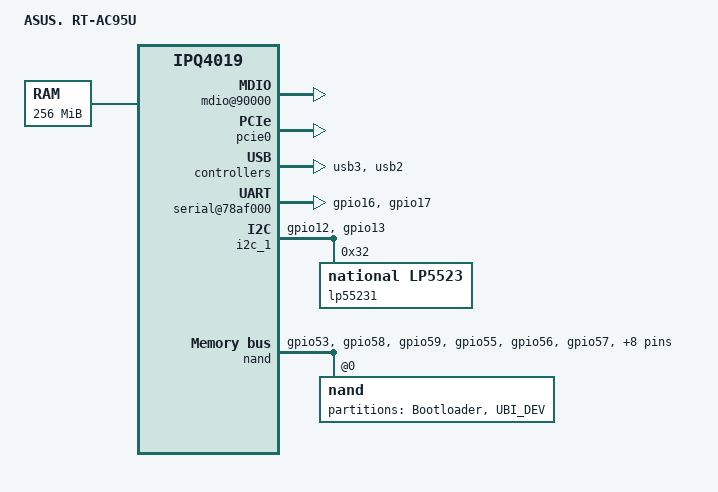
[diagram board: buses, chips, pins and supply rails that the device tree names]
/* Copyright (c) 2015, The Linux Foundation. All rights reserved.
 *
 * Permission to use, copy, modify, and/or distribute this software for any
 * purpose with or without fee is hereby granted, provided that the above
 * copyright notice and this permission notice appear in all copies.
 *
 * THE SOFTWARE IS PROVIDED "AS IS" AND THE AUTHOR DISCLAIMS ALL WARRANTIES
 * WITH REGARD TO THIS SOFTWARE INCLUDING ALL IMPLIED WARRANTIES OF
 * MERCHANTABILITY AND FITNESS. IN NO EVENT SHALL THE AUTHOR BE LIABLE FOR
 * ANY SPECIAL, DIRECT, INDIRECT, OR CONSEQUENTIAL DAMAGES OR ANY DAMAGES
 * WHATSOEVER RESULTING FROM LOSS OF USE, DATA OR PROFITS, WHETHER IN AN
 * ACTION OF CONTRACT, NEGLIGENCE OR OTHER TORTIOUS ACTION, ARISING OUT OF
 * OR IN CONNECTION WITH THE USE OR PERFORMANCE OF THIS SOFTWARE.
 *
 */

#include "qcom-ipq4019.dtsi"
#include "qcom-ipq4019-mhi.dtsi"
#include <dt-bindings/input/input.h>
#include <dt-bindings/gpio/gpio.h>

/ {
	model = "ASUS. RT-AC95U";
	compatible = "qcom,ipq4019";

	chosen {
		bootargs-append = " ubi.mtd=UBI_DEV";
	};

	memory {
		device_type = "memory";
		reg = <0x80000000 0x10000000>; /* 256MB */
	};

	soc {
		rng@22000 {
			status = "ok";
		};

		mdio@90000 {
			status = "ok";
		};

		ess-psgmii@98000 {
			status = "ok";
		};

		wifi_glb_tcsr: tcsr@1949000 {
			status = "ok";
		};

		tcsr: tcsr@194b000 {
			status = "ok";
		};

		ess_tcsr: ess_tcsr@1953000 {
			status = "ok";
		};

		wifi_noc_memtype_m0_m2_tcsr: tcsr@1957000 {
			status = "ok";
		};

		ess-switch@c000000 {
			status = "ok";
		};

		edma@c080000 {
			status = "ok";
		};

		pcie0: pci@40000000 {
			status = "ok";
			perst-gpio = <&tlmm 38 GPIO_ACTIVE_LOW>;
		};

		usb3_ss_phy: ssphy@0 {
			status = "ok";
		};

		usb3_hs_phy: hsphy@a6000 {
			status = "ok";
		};

		usb2_hs_phy: hsphy@a8000 {
			status = "ok";
		};

		usb3: usb3@8a00000 {
			status = "ok";
		};

		usb2: usb2@6000000 {
			status = "ok";
		};

		qpic_bam: dma@7984000{
			status = "ok";
		};

		qcom_mdss_qpic@7980000 {
			status = "ok";
		};

		qcom_mdss_qpic_panel {
			status = "ok";
		};

		serial@78af000 {
			pinctrl-0 = <&serial_pins>;
			pinctrl-names = "default";
			status = "ok";
		};

		gpio_keys {
			status = "disabled";
		};

		pinctrl@0x01000000 {
			spi_0_pins: spi_0_pinmux {
				status = "disabled";
			};

			i2c_0_pins: i2c_0_pinmux {
				status = "disabled";
			};

			i2c_1_pins: i2c_1_pinmux {
				mux {
					pins = "gpio12", "gpio13";
					function = "blsp_i2c1";
					bias-disable;
				};
			};
		};

		uart1:uart@78b0000 {
/*
			compatible = "qcom,msm-hsuart-v14";
			reg = <0x78b0000 0x200>,
				<0x7884000 0x23000>;
			reg-names = "core_mem", "bam_mem";
			interrupt-names = "core_irq", "bam_irq";
			#address-cells = <0>;
			interrupt-parent = <&uart1>;
			interrupts = <0 1 2>;
			#interrupt-cells = <1>;
			interrupt-map-mask = <0xffffffff>;
			interrupt-map = <0 &intc 0 108 0
				1 &intc 0 238 0>;
			qcom,bam-tx-ep-pipe-index = <2>;
			qcom,bam-rx-ep-pipe-index = <3>;
			qcom,master-id = <86>;
			clocks = <&gcc GCC_BLSP1_AHB_CLK>,
				<&gcc GCC_BLSP1_UART2_APPS_CLK>;
			clock-names = "iface_clk", "core_clk";
			status = "ok";
*/
			status = "disabled";
		};

		spi_0: spi@78b5000 { /* BLSP1 QUP1 */
			status = "disabled";
		};

		i2c_0: i2c@78b7000 { /* BLSP1 QUP2 */
			status = "disabled";
		};

		i2c_1: i2c@78b8000 { /* BLSP1 QUP4 */
			pinctrl-0 = <&i2c_1_pins>;
			pinctrl-1 = <&i2c_1_pins>;
			pinctrl-names = "i2c_active", "i2c_sleep";
			status = "ok";

			lp55231@32 {
				compatible = "national,lp5523";
				reg = <0x32>;
				clock-mode = /bits/ 8 <1>;

				chan0 {
					chan-name = "blue1";
					label = "blue:chan0";
					led-cur = /bits/ 8 <0xfa>;
					max-cur = /bits/ 8 <0xff>;
				};

				chan1 {
					chan-name = "blue2";
					label = "blue:chan1";
					led-cur = /bits/ 8 <0xfa>;
					max-cur = /bits/ 8 <0xff>;
				};

				chan2 {
					chan-name = "blue3";
					label = "blue:chan2";
					led-cur = /bits/ 8 <0xfa>;
					max-cur = /bits/ 8 <0xff>;
				};

				chan3 {
					chan-name = "green1";
					label = "green:chan0";
					led-cur = /bits/ 8 <0xfa>;
					max-cur = /bits/ 8 <0xff>;
				};

				chan4 {
					chan-name = "green2";
					label = "green:chan1";
					led-cur = /bits/ 8 <0xfa>;
					max-cur = /bits/ 8 <0xff>;
				};

				chan5 {
					chan-name = "green3";
					label = "green:chan2";
					led-cur = /bits/ 8 <0xfa>;
					max-cur = /bits/ 8 <0xff>;
				};

				chan6 {
					chan-name = "red1";
					label = "red:chan0";
					led-cur = /bits/ 8 <0xfa>;
					max-cur = /bits/ 8 <0xff>;
				};

				chan7 {
					chan-name = "red2";
					label = "blue:red2";
					led-cur = /bits/ 8 <0xfa>;
					max-cur = /bits/ 8 <0xff>;
				};

				chan8 {
					chan-name = "red3";
					label = "red:chan2";
					led-cur = /bits/ 8 <0xfa>;
					max-cur = /bits/ 8 <0xff>;
				};
			};
		};
	};
};

&nand {
	pinctrl-0 = <&nand_pins>;
	pinctrl-names = "default";
	status = "ok";

	nand@0 {
		partitions {
			compatible = "fixed-partitions";
			#address-cells = <1>;
			#size-cells = <1>;

			partition@0 {
				label = "Bootloader";
				reg = <0x000000000000 0x000000400000>;
				read-only;
			};
			partition@400000 {
				label = "UBI_DEV";
				reg = <0x000000400000 0x000007C00000>;
			};
		};
	};
};

&tlmm {
	serial_pins: serial_pinmux {
		mux {
			pins = "gpio16", "gpio17";
			function = "blsp_uart0";
			bias-disable;
		};
	};

	nand_pins: nand_pins {
		pullups {
			pins = "gpio53", "gpio58",
				 "gpio59";
			function = "qpic";
			bias-pull-up;
		};

		pulldowns {
			pins = "gpio55", "gpio56",
				 "gpio57", "gpio60",
				 "gpio62", "gpio63", "gpio64",
				 "gpio65", "gpio66", "gpio67",
				 "gpio69";
			function = "qpic";
			bias-pull-down;
		};
	};
};
